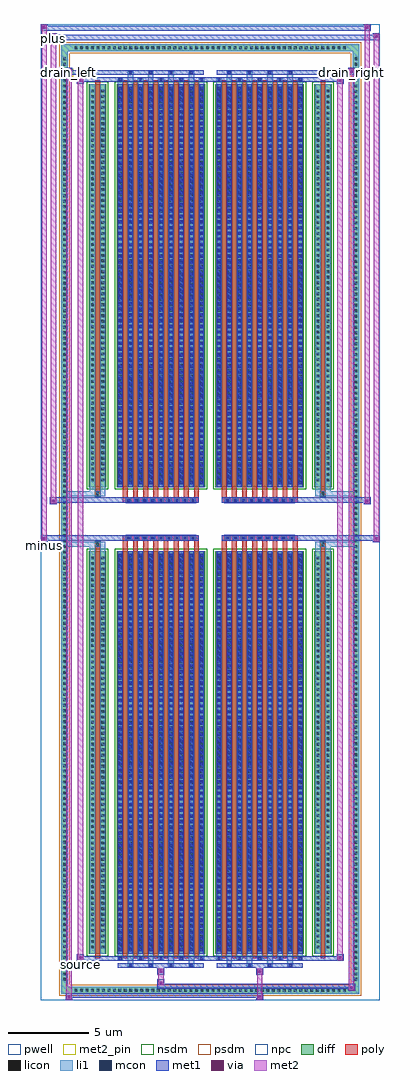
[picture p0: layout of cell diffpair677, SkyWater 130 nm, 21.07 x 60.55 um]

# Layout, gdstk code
import gdstk
lib = gdstk.Library(unit=1e-6, precision=5e-09)
def R(c, l, rs):  # rectangles x0, y0, x1, y1
    for r in rs: c.add(gdstk.rectangle(r[:2], r[2:], *l))
def A(c, l, x, y, w, h, nx, ny, dx, dy):  # array of equal rectangles
    R(c, l, [(x+i*dx, y+j*dy, x+i*dx+w, y+j*dy+h) for i in range(nx) for j in range(ny)])
def P(c, l, *ps):  # polygons
    for p in ps: c.add(gdstk.Polygon(p, *l))
pwell = (64, 44)
diff = (65, 20)
poly = (66, 20)
licon = (66, 44)
li1 = (67, 20)
mcon = (67, 44)
met1 = (68, 20)
via = (68, 44)
met2_pin = (69, 16)
met2 = (69, 20)
nsdm = (93, 44)
psdm = (94, 20)
npc = (95, 20)

diffpair677 = lib.new_cell('diffpair677')
R(diffpair677, pwell, [(-10.52,-29.84,10.52,30.71), (-7.84,-28.03,-0.01,-0.805), (0.01,-28.03,7.84,-0.805), (-7.84,0.805,-0.01,28.03), (0.01,0.805,7.84,28.03)])
A(diffpair677, diff, -8.535, -29.44, 0.41, 0.41, 50, 2, 0.34, 58.47)
A(diffpair677, diff, -9.25, -28.765, 0.41, 0.41, 1, 169, 0, 0.34)
A(diffpair677, diff, 8.84, -28.765, 0.41, 0.41, 1, 169, 0, 0.34)
R(diffpair677, diff, [(-8.535,-29.44,8.535,-29.03), (-9.25,-28.765,-8.84,28.765), (8.84,-28.765,9.25,28.765), (-7.53,-26.985,-6.45,-1.985), (-5.81,-26.985,-0.32,-1.985), (0.32,-26.985,5.81,-1.985), (6.45,-26.985,7.53,-1.985), (-7.53,1.985,-6.45,26.985), (-5.81,1.985,-0.32,26.985), (0.32,1.985,5.81,26.985), (6.45,1.985,7.53,26.985), (-8.535,29.03,8.535,29.44)])
P(diffpair677, diff, [(9.25,29.44),(-9.25,29.44),(-9.25,-29.03),(-8.84,-29.03),(-8.84,29.03),(8.84,29.03),(8.84,-29.03),(-8.84,-29.03),(-9.25,-29.03),(-9.25,-29.44),(9.25,-29.44)])
A(diffpair677, poly, -5.42, -27.235, 0.3, 25.5, 8, 2, 0.63, 28.97)
A(diffpair677, poly, 0.71, -27.235, 0.3, 25.5, 8, 2, 0.63, 28.97)
A(diffpair677, poly, -5.42, -1.735, 0.3, 0.4, 8, 2, 0.63, 3.07)
A(diffpair677, poly, 0.71, -1.735, 0.3, 0.4, 8, 2, 0.63, 3.07)
A(diffpair677, poly, -5.23, -1.335, 0.33, 0.33, 9, 2, 0.5, 2.34)
A(diffpair677, poly, 0.9, -1.335, 0.33, 0.33, 9, 2, 0.5, 2.34)
R(diffpair677, poly, [(-7.14,-27.235,-6.84,-1.735), (6.84,-27.235,7.14,-1.735), (-7.155,-1.735,-6.825,-1.405), (-7.155,-1.735,-6.825,-1.405), (6.825,-1.735,7.155,-1.405), (6.825,-1.735,7.155,-1.405), (-5.42,-1.335,-0.71,-1.005), (0.71,-1.335,5.42,-1.005), (-5.42,1.005,-0.71,1.335), (0.71,1.005,5.42,1.335), (-7.155,1.405,-6.825,1.735), (-7.155,1.405,-6.825,1.735), (6.825,1.405,7.155,1.735), (6.825,1.405,7.155,1.735), (-7.14,1.735,-6.84,27.235), (6.84,1.735,7.14,27.235)])
A(diffpair677, licon, -8.415, -29.32, 0.17, 0.17, 50, 2, 0.34, 58.47)
A(diffpair677, licon, -9.13, -28.645, 0.17, 0.17, 1, 169, 0, 0.34)
A(diffpair677, licon, 8.96, -28.645, 0.17, 0.17, 1, 169, 0, 0.34)
A(diffpair677, licon, -7.39, -26.64, 0.17, 0.17, 1, 72, 0, 0.34)
A(diffpair677, licon, -6.76, -26.64, 0.17, 0.17, 1, 72, 0, 0.34)
A(diffpair677, licon, -5.67, -26.64, 0.17, 0.17, 9, 72, 0.63, 0.34)
A(diffpair677, licon, 0.46, -26.64, 0.17, 0.17, 9, 72, 0.63, 0.34)
A(diffpair677, licon, 6.59, -26.64, 0.17, 0.17, 1, 72, 0, 0.34)
A(diffpair677, licon, 7.22, -26.64, 0.17, 0.17, 1, 72, 0, 0.34)
A(diffpair677, licon, -5.15, -1.255, 0.17, 0.17, 9, 2, 0.5, 2.34)
A(diffpair677, licon, 0.98, -1.255, 0.17, 0.17, 9, 2, 0.5, 2.34)
A(diffpair677, licon, -7.39, 2.33, 0.17, 0.17, 1, 72, 0, 0.34)
A(diffpair677, licon, -6.76, 2.33, 0.17, 0.17, 1, 72, 0, 0.34)
A(diffpair677, licon, -5.67, 2.33, 0.17, 0.17, 9, 72, 0.63, 0.34)
A(diffpair677, licon, 0.46, 2.33, 0.17, 0.17, 9, 72, 0.63, 0.34)
A(diffpair677, licon, 6.59, 2.33, 0.17, 0.17, 1, 72, 0, 0.34)
A(diffpair677, licon, 7.22, 2.33, 0.17, 0.17, 1, 72, 0, 0.34)
R(diffpair677, licon, [(-7.075,-1.655,-6.905,-1.485), (6.905,-1.655,7.075,-1.485), (-7.075,1.485,-6.905,1.655), (6.905,1.485,7.075,1.655)])
A(diffpair677, li1, -8.495, -29.4, 0.33, 0.33, 50, 2, 0.34, 58.47)
A(diffpair677, li1, -9.21, -28.725, 0.33, 0.33, 1, 169, 0, 0.34)
A(diffpair677, li1, 8.88, -28.725, 0.33, 0.33, 1, 169, 0, 0.34)
A(diffpair677, li1, -5.12, -27.79, 0.33, 0.805, 4, 2, 1.26, 54.775)
A(diffpair677, li1, -5.04, -27.79, 0.17, 0.17, 4, 2, 1.26, 55.41)
A(diffpair677, li1, 1.01, -27.79, 0.33, 0.805, 4, 2, 1.26, 54.775)
A(diffpair677, li1, 1.09, -27.79, 0.17, 0.17, 4, 2, 1.26, 55.41)
A(diffpair677, li1, -5.75, -27.36, 0.33, 0.375, 5, 2, 1.26, 54.345)
A(diffpair677, li1, -5.67, -27.36, 0.17, 0.17, 5, 2, 1.26, 54.55)
A(diffpair677, li1, 0.38, -27.36, 0.33, 0.375, 5, 2, 1.26, 54.345)
A(diffpair677, li1, 0.46, -27.36, 0.17, 0.17, 5, 2, 1.26, 54.55)
A(diffpair677, li1, -5.75, -26.985, 0.33, 25, 9, 2, 0.63, 28.97)
A(diffpair677, li1, 0.38, -26.985, 0.33, 25, 9, 2, 0.63, 28.97)
A(diffpair677, li1, -5.67, -26.81, 0.17, 0.17, 9, 69, 0.63, 0.36)
A(diffpair677, li1, -5.67, -26.81, 0.17, 24.65, 9, 2, 0.63, 28.97)
A(diffpair677, li1, 0.46, -26.81, 0.17, 0.17, 9, 69, 0.63, 0.36)
A(diffpair677, li1, 0.46, -26.81, 0.17, 24.65, 9, 2, 0.63, 28.97)
A(diffpair677, li1, -7.47, -26.72, 0.33, 0.33, 1, 72, 0, 0.34)
A(diffpair677, li1, -6.84, -26.72, 0.33, 0.33, 1, 72, 0, 0.34)
A(diffpair677, li1, -5.75, -26.72, 0.33, 0.33, 9, 72, 0.63, 0.34)
A(diffpair677, li1, 0.38, -26.72, 0.33, 0.33, 9, 72, 0.63, 0.34)
A(diffpair677, li1, 6.51, -26.72, 0.33, 0.33, 1, 72, 0, 0.34)
A(diffpair677, li1, 7.14, -26.72, 0.33, 0.33, 1, 72, 0, 0.34)
A(diffpair677, li1, -5.23, -1.335, 0.33, 0.33, 9, 2, 0.5, 2.34)
A(diffpair677, li1, 0.9, -1.335, 0.33, 0.33, 9, 2, 0.5, 2.34)
A(diffpair677, li1, -5.67, 2.16, 0.17, 0.17, 9, 69, 0.63, 0.36)
A(diffpair677, li1, 0.46, 2.16, 0.17, 0.17, 9, 69, 0.63, 0.36)
A(diffpair677, li1, -7.47, 2.25, 0.33, 0.33, 1, 72, 0, 0.34)
A(diffpair677, li1, -6.84, 2.25, 0.33, 0.33, 1, 72, 0, 0.34)
A(diffpair677, li1, -5.75, 2.25, 0.33, 0.33, 9, 72, 0.63, 0.34)
A(diffpair677, li1, 0.38, 2.25, 0.33, 0.33, 9, 72, 0.63, 0.34)
A(diffpair677, li1, 6.51, 2.25, 0.33, 0.33, 1, 72, 0, 0.34)
A(diffpair677, li1, 7.14, 2.25, 0.33, 0.33, 1, 72, 0, 0.34)
R(diffpair677, li1, [(-9.25,-29.44,-8.84,-29.03), (-9.25,-29.44,-8.84,-29.03), (-8.84,-29.44,8.84,-29.03), (8.84,-29.44,9.25,-29.03), (8.84,-29.44,9.25,-29.03), (-9.25,-29.03,-8.84,29.03), (8.84,-29.03,9.25,29.03), (-7.47,-26.985,-7.14,-1.985), (-6.84,-26.985,-6.51,-1.985), (6.51,-26.985,6.84,-1.985), (7.14,-26.985,7.47,-1.985), (-7.47,-1.985,-7.14,-1.405), (-6.84,-1.985,-6.51,-1.405), (6.51,-1.985,6.84,-1.405), (7.14,-1.985,7.47,-1.405), (-9.25,-1.735,-7.155,-1.405), (-7.47,-1.735,-7.155,-1.405), (-7.155,-1.735,-6.825,-1.405), (-6.825,-1.735,-6.51,-1.405), (6.51,-1.735,6.825,-1.405), (6.825,-1.735,7.155,-1.405), (6.825,-1.735,9.25,-1.405), (7.155,-1.735,7.47,-1.405), (-9.25,1.405,-7.155,1.735), (-7.47,1.405,-7.155,1.735), (-7.47,1.405,-7.14,1.985), (-7.155,1.405,-6.825,1.735), (-6.84,1.405,-6.51,1.985), (-6.825,1.405,-6.51,1.735), (6.51,1.405,6.825,1.735), (6.51,1.405,6.84,1.985), (6.825,1.405,7.155,1.735), (6.825,1.405,9.25,1.735), (7.14,1.405,7.47,1.985), (7.155,1.405,7.47,1.735), (-7.47,1.985,-7.14,26.985), (-6.84,1.985,-6.51,26.985), (6.51,1.985,6.84,26.985), (7.14,1.985,7.47,26.985), (-9.25,29.03,-8.84,29.44), (-9.25,29.03,-8.84,29.44), (-8.84,29.03,8.84,29.44), (8.84,29.03,9.25,29.44), (8.84,29.03,9.25,29.44)])
A(diffpair677, mcon, -5.04, -27.79, 0.17, 0.17, 4, 2, 1.26, 55.41)
A(diffpair677, mcon, 1.09, -27.79, 0.17, 0.17, 4, 2, 1.26, 55.41)
A(diffpair677, mcon, -5.67, -27.36, 0.17, 0.17, 5, 2, 1.26, 54.55)
A(diffpair677, mcon, 0.46, -27.36, 0.17, 0.17, 5, 2, 1.26, 54.55)
A(diffpair677, mcon, -5.67, -26.81, 0.17, 0.17, 9, 69, 0.63, 0.36)
A(diffpair677, mcon, 0.46, -26.81, 0.17, 0.17, 9, 69, 0.63, 0.36)
A(diffpair677, mcon, -5.15, -1.255, 0.17, 0.17, 9, 2, 0.5, 2.34)
A(diffpair677, mcon, 0.98, -1.255, 0.17, 0.17, 9, 2, 0.5, 2.34)
A(diffpair677, mcon, -5.67, 2.16, 0.17, 0.17, 9, 69, 0.63, 0.36)
A(diffpair677, mcon, 0.46, 2.16, 0.17, 0.17, 9, 69, 0.63, 0.36)
A(diffpair677, met1, -5.1, -27.85, 0.29, 0.29, 4, 2, 1.26, 55.41)
A(diffpair677, met1, 1.03, -27.85, 0.29, 0.29, 4, 2, 1.26, 55.41)
A(diffpair677, met1, -5.73, -27.42, 0.29, 0.29, 5, 2, 1.26, 54.55)
A(diffpair677, met1, 0.4, -27.42, 0.29, 0.29, 5, 2, 1.26, 54.55)
A(diffpair677, met1, -5.73, -26.985, 0.29, 25, 9, 2, 0.63, 28.97)
A(diffpair677, met1, 0.4, -26.985, 0.29, 25, 9, 2, 0.63, 28.97)
A(diffpair677, met1, -5.73, -26.87, 0.29, 0.29, 9, 69, 0.63, 0.36)
A(diffpair677, met1, 0.4, -26.87, 0.29, 0.29, 9, 69, 0.63, 0.36)
A(diffpair677, met1, -5.21, -1.315, 0.29, 0.29, 9, 2, 0.5, 2.34)
A(diffpair677, met1, 0.92, -1.315, 0.29, 0.29, 9, 2, 0.5, 2.34)
A(diffpair677, met1, -5.73, 2.1, 0.29, 0.29, 9, 69, 0.63, 0.36)
A(diffpair677, met1, 0.4, 2.1, 0.29, 0.29, 9, 69, 0.63, 0.36)
R(diffpair677, met1, [(-8.98,-29.84,-8.55,-29.41), (2.85,-29.84,3.28,-29.41), (-8.98,-29.7,3.28,-29.41), (8.55,-29.27,8.98,-28.84), (-3.28,-29.13,8.98,-28.84), (-3.28,-28.99,-2.85,-28.56), (-3.28,-28.28,-2.85,-27.85), (2.85,-28.28,3.28,-27.85), (-5.73,-27.85,-0.4,-27.56), (0.4,-27.85,5.73,-27.56), (-8.27,-27.42,-7.84,-26.99), (-8.27,-27.42,-5.73,-27.13), (-5.73,-27.42,-0.4,-27.13), (-0.4,-27.42,0.4,-27.13), (0.4,-27.42,5.73,-27.13), (5.73,-27.42,8.27,-27.13), (7.84,-27.42,8.27,-26.99), (-10.52,-1.435,-10.09,-1.005), (10.09,-1.435,10.52,-1.005), (-10.52,-1.335,-0.71,-1.005), (-5.42,-1.335,-0.71,-1.005), (0.71,-1.335,5.42,-1.005), (0.71,-1.335,10.52,-1.005), (-9.95,0.905,-9.52,1.335), (9.52,0.905,9.95,1.335), (-9.95,1.005,-5.42,1.335), (-5.42,1.005,-0.71,1.335), (0.71,1.005,5.42,1.335), (5.42,1.005,9.95,1.335), (-8.27,26.99,-7.84,27.42), (7.84,26.99,8.27,27.42), (-8.27,27.13,-5.73,27.42), (-5.73,27.13,-0.4,27.42), (-0.4,27.13,0.4,27.42), (0.4,27.13,5.73,27.42), (5.73,27.13,8.27,27.42), (-8.98,27.56,-8.55,27.99), (-8.98,27.56,-5.73,27.85), (-5.73,27.56,-0.4,27.85), (0.4,27.56,5.73,27.85), (5.73,27.56,8.98,27.85), (8.55,27.56,8.98,27.99), (-9.95,29.71,-9.52,30.14), (-9.95,29.71,-7.84,30.04), (-7.84,29.71,7.84,30.04), (7.84,29.71,10.52,30.04), (10.09,29.71,10.52,30.14), (-10.52,30.28,-10.09,30.71), (-10.52,30.28,-7.84,30.61), (-7.84,30.28,7.84,30.61), (7.84,30.28,9.95,30.61), (9.52,30.28,9.95,30.71)])
R(diffpair677, via, [(-8.84,-29.7,-8.69,-29.55), (2.99,-29.7,3.14,-29.55), (8.69,-29.13,8.84,-28.98), (-3.14,-28.85,-2.99,-28.7), (-3.14,-28.14,-2.99,-27.99), (2.99,-28.14,3.14,-27.99), (-8.13,-27.28,-7.98,-27.13), (7.98,-27.28,8.13,-27.13), (-10.38,-1.295,-10.23,-1.145), (10.23,-1.295,10.38,-1.145), (-9.81,1.045,-9.66,1.195), (9.66,1.045,9.81,1.195), (-8.13,27.13,-7.98,27.28), (7.98,27.13,8.13,27.28), (-8.84,27.7,-8.69,27.85), (8.69,27.7,8.84,27.85), (-9.81,29.85,-9.66,30), (10.23,29.85,10.38,30), (-10.38,30.42,-10.23,30.57), (9.66,30.42,9.81,30.57)])
R(diffpair677, met2_pin, [(-8.305,-27.87,-7.805,-27.37), (-10.555,-1.885,-10.055,-1.385), (-9.015,27.44,-8.515,27.94), (8.515,27.44,9.015,27.94), (-9.985,29.59,-9.485,30.09)])
R(diffpair677, met2, [(-8.93,-29.79,-8.6,-29.46), (-8.93,-29.79,-8.6,27.94), (2.9,-29.79,3.23,-29.46), (2.9,-29.46,3.23,-28.23), (8.6,-29.22,8.93,-28.89), (8.6,-29.22,8.93,27.94), (-3.23,-28.94,-2.9,-28.61), (-3.23,-28.61,-2.9,-28.23), (-3.23,-28.23,-2.9,-27.9), (2.9,-28.23,3.23,-27.9), (-8.22,-27.37,-7.89,-27.04), (-8.22,-27.37,-7.89,27.37), (7.89,-27.37,8.22,-27.04), (7.89,-27.37,8.22,27.37), (-10.47,-1.385,-10.14,-1.055), (-10.47,-1.385,-10.14,30.66), (10.14,-1.385,10.47,-1.055), (10.14,-1.385,10.47,30.09), (-9.9,0.955,-9.57,1.285), (-9.9,0.955,-9.57,30.09), (9.57,0.955,9.9,1.285), (9.57,0.955,9.9,30.66), (-8.22,27.04,-7.89,27.37), (7.89,27.04,8.22,27.37), (-8.93,27.61,-8.6,27.94), (8.6,27.61,8.93,27.94), (-9.9,29.76,-9.57,30.09), (10.14,29.76,10.47,30.09), (-10.47,30.33,-10.14,30.66), (9.57,30.33,9.9,30.66)])
P(diffpair677, met2, [(10.47,-1.385),(10.47,-1.385),(10.47,-1.055),(10.47,-1.055)],
  [(10.47,29.76),(10.47,29.76),(10.47,30.09),(10.47,30.09)],
  [(-10.14,-1.385),(-10.14,-1.385),(-10.14,-1.055),(-10.14,-1.055)],
  [(-10.14,30.33),(-10.14,30.33),(-10.14,30.66),(-10.14,30.66)],
  [(9.9,0.955),(9.9,0.955),(9.9,1.285),(9.9,1.285)],
  [(9.9,30.33),(9.9,30.33),(9.9,30.66),(9.9,30.66)],
  [(-9.57,0.955),(-9.57,0.955),(-9.57,1.285),(-9.57,1.285)],
  [(-9.57,29.76),(-9.57,29.76),(-9.57,30.09),(-9.57,30.09)],
  [(-8.6,-29.79),(-8.6,-29.79),(-8.6,-29.46),(-8.6,-29.46)],
  [(-8.6,27.61),(-8.6,27.61),(-8.6,27.94),(-8.6,27.94)],
  [(8.93,-29.22),(8.93,-29.22),(8.93,-28.89),(8.93,-28.89)],
  [(8.93,27.61),(8.93,27.61),(8.93,27.94),(8.93,27.94)],
  [(-7.89,-27.37),(-7.89,-27.37),(-7.89,-27.04),(-7.89,-27.04)],
  [(-7.89,27.04),(-7.89,27.04),(-7.89,27.37),(-7.89,27.37)],
  [(8.22,-27.37),(8.22,-27.37),(8.22,-27.04),(8.22,-27.04)],
  [(8.22,27.04),(8.22,27.04),(8.22,27.37),(8.22,27.37)])
R(diffpair677, nsdm, [(-7.66,-27.115,-6.32,-1.855), (-5.94,-27.115,-0.19,-1.855), (0.19,-27.115,5.94,-1.855), (6.32,-27.115,7.66,-1.855), (-7.66,1.855,-6.32,27.115), (-5.94,1.855,-0.19,27.115), (0.19,1.855,5.94,27.115), (6.32,1.855,7.66,27.115)])
P(diffpair677, psdm, [(9.38,29.57),(-9.38,29.57),(-9.38,-28.9),(-8.71,-28.9),(-8.71,28.9),(8.71,28.9),(8.71,-28.9),(-8.71,-28.9),(-9.38,-28.9),(-9.38,-29.57),(9.38,-29.57)])
A(diffpair677, npc, -5.25, -1.355, 0.37, 0.37, 9, 2, 0.5, 2.34)
A(diffpair677, npc, 0.88, -1.355, 0.37, 0.37, 9, 2, 0.5, 2.34)
R(diffpair677, npc, [(-7.175,-1.755,-6.805,-1.385), (6.805,-1.755,7.175,-1.385), (-5.25,-1.355,-4.38,-0.985), (-5.25,-1.355,-4.38,-0.985), (-4.75,-1.355,-3.88,-0.985), (-4.75,-1.355,-3.88,-0.985), (-4.25,-1.355,-3.38,-0.985), (-4.25,-1.355,-3.38,-0.985), (-3.75,-1.355,-2.88,-0.985), (-3.75,-1.355,-2.88,-0.985), (-3.25,-1.355,-2.38,-0.985), (-3.25,-1.355,-2.38,-0.985), (-2.75,-1.355,-1.88,-0.985), (-2.75,-1.355,-1.88,-0.985), (-2.25,-1.355,-1.38,-0.985), (-2.25,-1.355,-1.38,-0.985), (-1.75,-1.355,-0.88,-0.985), (-1.75,-1.355,-0.88,-0.985), (0.88,-1.355,1.75,-0.985), (0.88,-1.355,1.75,-0.985), (1.38,-1.355,2.25,-0.985), (1.38,-1.355,2.25,-0.985), (1.88,-1.355,2.75,-0.985), (1.88,-1.355,2.75,-0.985), (2.38,-1.355,3.25,-0.985), (2.38,-1.355,3.25,-0.985), (2.88,-1.355,3.75,-0.985), (2.88,-1.355,3.75,-0.985), (3.38,-1.355,4.25,-0.985), (3.38,-1.355,4.25,-0.985), (3.88,-1.355,4.75,-0.985), (3.88,-1.355,4.75,-0.985), (4.38,-1.355,5.25,-0.985), (4.38,-1.355,5.25,-0.985), (-5.25,0.985,-4.38,1.355), (-5.25,0.985,-4.38,1.355), (-4.75,0.985,-3.88,1.355), (-4.75,0.985,-3.88,1.355), (-4.25,0.985,-3.38,1.355), (-4.25,0.985,-3.38,1.355), (-3.75,0.985,-2.88,1.355), (-3.75,0.985,-2.88,1.355), (-3.25,0.985,-2.38,1.355), (-3.25,0.985,-2.38,1.355), (-2.75,0.985,-1.88,1.355), (-2.75,0.985,-1.88,1.355), (-2.25,0.985,-1.38,1.355), (-2.25,0.985,-1.38,1.355), (-1.75,0.985,-0.88,1.355), (-1.75,0.985,-0.88,1.355), (0.88,0.985,1.75,1.355), (0.88,0.985,1.75,1.355), (1.38,0.985,2.25,1.355), (1.38,0.985,2.25,1.355), (1.88,0.985,2.75,1.355), (1.88,0.985,2.75,1.355), (2.38,0.985,3.25,1.355), (2.38,0.985,3.25,1.355), (2.88,0.985,3.75,1.355), (2.88,0.985,3.75,1.355), (3.38,0.985,4.25,1.355), (3.38,0.985,4.25,1.355), (3.88,0.985,4.75,1.355), (3.88,0.985,4.75,1.355), (4.38,0.985,5.25,1.355), (4.38,0.985,5.25,1.355), (-7.175,1.385,-6.805,1.755), (6.805,1.385,7.175,1.755)])
diffpair677.add(gdstk.Label('minus', (-10.305,-1.635), layer=69, texttype=5))
diffpair677.add(gdstk.Label('drain_right', (8.765,27.69), layer=69, texttype=5))
diffpair677.add(gdstk.Label('drain_left', (-8.765,27.69), layer=69, texttype=5))
diffpair677.add(gdstk.Label('source', (-8.055,-27.62), layer=69, texttype=5))
diffpair677.add(gdstk.Label('plus', (-9.735,29.84), layer=69, texttype=5))

lib.write_gds('diffpair677.gds')
